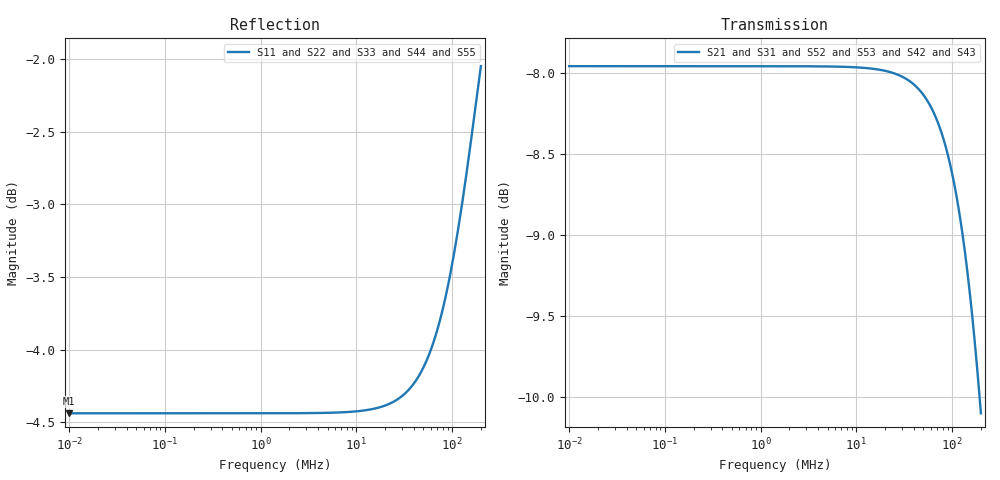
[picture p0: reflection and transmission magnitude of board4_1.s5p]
! Created with skrf 1.8.0 (http://scikit-rf.org).
# MHz S RI R 50.0
!freq ReS11 ImS11 ReS12 ImS12 ReS13 ImS13
! ReS14 ImS14 ReS15 ImS15
! ReS21 ImS21 ReS22 ImS22 ReS23 ImS23
! ReS24 ImS24 ReS25 ImS25
! ReS31 ImS31 ReS32 ImS32 ReS33 ImS33
! ReS34 ImS34 ReS35 ImS35
! ReS41 ImS41 ReS42 ImS42 ReS43 ImS43
! ReS44 ImS44 ReS45 ImS45
! ReS51 ImS51 ReS52 ImS52 ReS53 ImS53
! ReS54 ImS54 ReS55 ImS55
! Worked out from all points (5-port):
!   201 points, 10 kHz to 200 MHz, reference 50 ohm
!   strongest paths, dB at 10 kHz, 118.9 kHz, 1.414 MHz, 16.82 MHz, 200 MHz:
!     S21: -8.0, -8.0, -8.0, -8.0, -10.1
!     S31: -8.0, -8.0, -8.0, -8.0, -10.1
!     S52: -8.0, -8.0, -8.0, -8.0, -10.1
!     S53: -8.0, -8.0, -8.0, -8.0, -10.1
!     S42: -8.0, -8.0, -8.0, -8.0, -10.2
!     S43: -8.0, -8.0, -8.0, -8.0, -10.2
!   lowest |S11| = -4.4 dB at 10 kHz (marker M1), VSWR 4.00, Z = 12.5 - j0.000609 ohm
!   |S11| at or under -10 dB: nowhere
